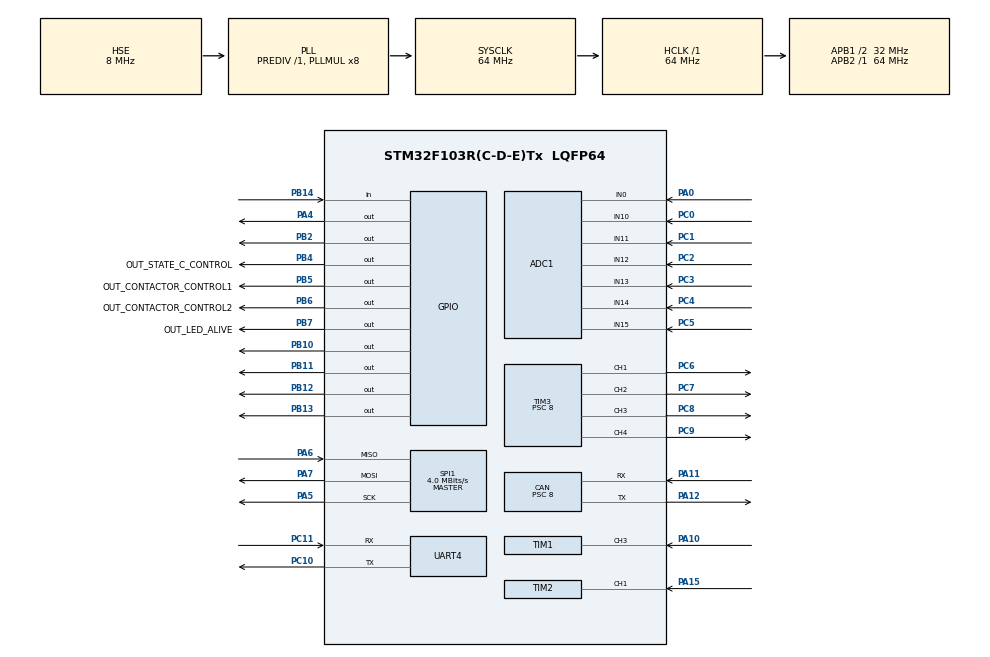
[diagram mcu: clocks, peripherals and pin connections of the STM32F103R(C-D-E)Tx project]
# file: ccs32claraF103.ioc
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ADC1.Channel-0\#ChannelRegularConversion=ADC_CHANNEL_10
ADC1.Channel-1\#ChannelRegularConversion=ADC_CHANNEL_11
ADC1.Channel-2\#ChannelRegularConversion=ADC_CHANNEL_12
ADC1.Channel-3\#ChannelRegularConversion=ADC_CHANNEL_13
ADC1.Channel-4\#ChannelRegularConversion=ADC_CHANNEL_TEMPSENSOR
ADC1.ContinuousConvMode=ENABLE
ADC1.NbrOfConversion=5
ADC1.NbrOfConversionFlag=1
ADC1.Rank-0\#ChannelRegularConversion=1
ADC1.Rank-1\#ChannelRegularConversion=2
ADC1.Rank-2\#ChannelRegularConversion=3
ADC1.Rank-3\#ChannelRegularConversion=4
ADC1.Rank-4\#ChannelRegularConversion=5
ADC1.SamplingTime-0\#ChannelRegularConversion=ADC_SAMPLETIME_71CYCLES_5
ADC1.SamplingTime-1\#ChannelRegularConversion=ADC_SAMPLETIME_71CYCLES_5
ADC1.SamplingTime-2\#ChannelRegularConversion=ADC_SAMPLETIME_71CYCLES_5
ADC1.SamplingTime-3\#ChannelRegularConversion=ADC_SAMPLETIME_71CYCLES_5
ADC1.SamplingTime-4\#ChannelRegularConversion=ADC_SAMPLETIME_71CYCLES_5
ADC1.master=1
CAN.BS1=CAN_BS1_6TQ
CAN.CalculateBaudRate=500000
CAN.CalculateTimeBit=2000
CAN.CalculateTimeQuantum=250.0
CAN.NART=ENABLE
CAN.Prescaler=8
Mcu.Family=STM32F1
Mcu.Name=STM32F103R(C-D-E)Tx
Mcu.Package=LQFP64
NVIC.PriorityGroup=NVIC_PRIORITYGROUP_4
NVIC.TIM2_IRQn=true\:0\:0\:false\:false\:true\:true\:true\:true
NVIC.USB_LP_CAN1_RX0_IRQn=true\:0\:0\:false\:false\:true\:true\:true\:true
PA0-WKUP.Signal=ADCx_IN0
PA10.Signal=S_TIM1_CH3
PA11.Mode=CAN_Activate
PA11.Signal=CAN_RX
PA12.Mode=CAN_Activate
PA12.Signal=CAN_TX
PA13.Mode=Serial_Wire
PA13.Signal=SYS_JTMS-SWDIO
PA14.Mode=Serial_Wire
PA14.Signal=SYS_JTCK-SWCLK
PA15.Signal=S_TIM2_CH1_ETR
PA4.Signal=GPIO_Output
PA5.Mode=Full_Duplex_Master
PA5.Signal=SPI1_SCK
PA6.Mode=Full_Duplex_Master
PA6.Signal=SPI1_MISO
PA7.Mode=Full_Duplex_Master
PA7.Signal=SPI1_MOSI
PB10.Signal=GPIO_Output
PB11.Signal=GPIO_Output
PB12.Signal=GPIO_Output
PB13.Signal=GPIO_Output
PB14.Signal=GPIO_Input
PB2.Signal=GPIO_Output
PB4.GPIO_Label=OUT_STATE_C_CONTROL
PB4.Signal=GPIO_Output
PB5.GPIO_Label=OUT_CONTACTOR_CONTROL1
PB5.Signal=GPIO_Output
PB6.GPIO_Label=OUT_CONTACTOR_CONTROL2
PB6.Signal=GPIO_Output
PB7.GPIO_Label=OUT_LED_ALIVE
PB7.Signal=GPIO_Output
PC0.Signal=ADCx_IN10
PC1.Signal=ADCx_IN11
PC10.Mode=Asynchronous
PC10.Signal=UART4_TX
PC11.Mode=Asynchronous
PC11.Signal=UART4_RX
PC2.Signal=ADCx_IN12
PC3.Signal=ADCx_IN13
PC4.Signal=ADCx_IN14
PC5.Signal=ADCx_IN15
PC6.Signal=S_TIM3_CH1
PC7.Signal=S_TIM3_CH2
PC8.Signal=S_TIM3_CH3
PC9.Signal=S_TIM3_CH4
PD0-OSC_IN.Mode=HSE-External-Oscillator
PD0-OSC_IN.Signal=RCC_OSC_IN
PD1-OSC_OUT.Mode=HSE-External-Oscillator
PD1-OSC_OUT.Signal=RCC_OSC_OUT
ProjectManager.HeapSize=0x200
ProjectManager.StackSize=0x400
ProjectManager.TargetToolchain=STM32CubeIDE
RCC.ADCPresc=RCC_ADCPCLK2_DIV8
RCC.AHBFreq_Value=64000000
RCC.APB1CLKDivider=RCC_HCLK_DIV2
RCC.APB1Freq_Value=32000000
RCC.APB1TimFreq_Value=64000000
RCC.APB2Freq_Value=64000000
RCC.APB2TimFreq_Value=64000000
RCC.HCLKFreq_Value=64000000
RCC.PLLMUL=RCC_PLL_MUL8
RCC.PLLSourceVirtual=RCC_PLLSOURCE_HSE
RCC.SYSCLKFreq_VALUE=64000000
RCC.SYSCLKSource=RCC_SYSCLKSOURCE_PLLCLK
RCC.USBFreq_Value=64000000
SH.ADCx_IN0.0=ADC1_IN0,IN0
SH.ADCx_IN10.0=ADC1_IN10,IN10
SH.ADCx_IN11.0=ADC1_IN11,IN11
SH.ADCx_IN12.0=ADC1_IN12,IN12
SH.ADCx_IN13.0=ADC1_IN13,IN13
SH.ADCx_IN14.0=ADC1_IN14,IN14
SH.ADCx_IN15.0=ADC1_IN15,IN15
SH.S_TIM1_CH3.0=TIM1_CH3,Input_Capture3_from_TI3
SH.S_TIM2_CH1_ETR.0=TIM2_CH1,PWM_Input_1
SH.S_TIM3_CH1.0=TIM3_CH1,PWM Generation1 CH1
SH.S_TIM3_CH2.0=TIM3_CH2,PWM Generation2 CH2
SH.S_TIM3_CH3.0=TIM3_CH3,PWM Generation3 CH3
SH.S_TIM3_CH4.0=TIM3_CH4,PWM Generation4 CH4
SPI1.BaudRatePrescaler=SPI_BAUDRATEPRESCALER_16
SPI1.CLKPhase=SPI_PHASE_2EDGE
SPI1.CLKPolarity=SPI_POLARITY_HIGH
SPI1.CalculateBaudRate=4.0 MBits/s
SPI1.Direction=SPI_DIRECTION_2LINES
SPI1.Mode=SPI_MODE_MASTER
SPI1.VirtualType=VM_MASTER
TIM1.Channel-Input_Capture3_from_TI3=TIM_CHANNEL_3
TIM3.AutoReloadPreload=TIM_AUTORELOAD_PRELOAD_DISABLE
TIM3.Channel-PWM\ Generation1\ CH1=TIM_CHANNEL_1
TIM3.Channel-PWM\ Generation2\ CH2=TIM_CHANNEL_2
TIM3.Channel-PWM\ Generation3\ CH3=TIM_CHANNEL_3
TIM3.Channel-PWM\ Generation4\ CH4=TIM_CHANNEL_4
TIM3.Prescaler=8
TIM3.Pulse-PWM\ Generation1\ CH1=16384
TIM3.Pulse-PWM\ Generation2\ CH2=32768
TIM3.Pulse-PWM\ Generation3\ CH3=48000
TIM3.Pulse-PWM\ Generation4\ CH4=60000
UART4.VirtualMode=Asynchronous
VP_ADC1_TempSens_Input.Mode=IN-TempSens
VP_TIM2_VS_ClockSourceINT.Mode=Internal
VP_TIM3_VS_ClockSourceINT.Mode=Internal
VP_TIM3_VS_ClockSourceITR.Mode=TriggerSource_ITR0
board=custom

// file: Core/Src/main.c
/* USER CODE BEGIN Header */
/**
  main file of the ccs32clara with STM32F103
  */
/* USER CODE END Header */
#include "main.h"

/* USER CODE BEGIN Includes */
#include <stdio.h>
#include "ccs32_globals.h"
/* USER CODE END Includes */

/* USER CODE BEGIN PD */
//#define TEST_BLINK_LEDS
/* USER CODE END PD */

ADC_HandleTypeDef hadc1;

CAN_HandleTypeDef hcan;

SPI_HandleTypeDef hspi1;

TIM_HandleTypeDef htim1;
TIM_HandleTypeDef htim2;
TIM_HandleTypeDef htim3;

UART_HandleTypeDef huart4;

/* USER CODE BEGIN PV */
ADC_ChannelConfTypeDef sConfig = {0};

/* USER CODE END PV */

void SystemClock_Config(void);
static void MX_GPIO_Init(void);
static void MX_UART4_Init(void);
static void MX_CAN_Init(void);
static void MX_SPI1_Init(void);
static void MX_ADC1_Init(void);
static void MX_TIM3_Init(void);
static void MX_TIM1_Init(void);
static void MX_TIM2_Init(void);

/* USER CODE BEGIN 0 */

void mySerialPrint(void) {
  #define TIMEOUT_100_MS 100
  HAL_UART_Transmit(&huart4, (uint8_t*)mySerialPrintOutputBuffer, strlen(mySerialPrintOutputBuffer), TIMEOUT_100_MS);
}

void mySpiTransmitReceive(void) {
  HAL_GPIO_WritePin(GPIOA, GPIO_PIN_4, 0);
  HAL_SPI_TransmitReceive(&hspi1, mySpiTxBuffer, mySpiRxBuffer, mySpiDataSize, 200);
  HAL_GPIO_WritePin(GPIOA, GPIO_PIN_4, 1);
}

/* USER CODE END 0 */

int main(void)
{

  /* MCU Configuration--------------------------------------------------------*/

  /* Reset of all peripherals, Initializes the Flash interface and the Systick. */
  HAL_Init();

  /* Configure the system clock */
  SystemClock_Config();

  /* Initialize all configured peripherals */
  MX_GPIO_Init();
  MX_UART4_Init();
  MX_CAN_Init();
  MX_SPI1_Init();
  MX_ADC1_Init();
  MX_TIM3_Init();
  MX_TIM1_Init();
  MX_TIM2_Init();
  /* USER CODE BEGIN 2 */
  hardwareInterface_init();
  initMyScheduler();
  canbus_Init();
  xcp_Init();
  myAdc_calibrate();
  /* USER CODE END 2 */

  /* Infinite loop */
  while (1)
  {

    /* USER CODE BEGIN 3 */
	runMyScheduler();
	#ifdef TEST_BLINK_LEDS
	  HAL_GPIO_WritePin(GPIOB, GPIO_PIN_4, 1);
	  HAL_Delay (2000);   /* ms */
	  HAL_GPIO_WritePin(GPIOB, GPIO_PIN_4, 0);
	  HAL_Delay (2000);   /* ms */
	  HAL_GPIO_WritePin(GPIOB, GPIO_PIN_5, 1);
	  HAL_Delay (100);   /* ms */
	  HAL_GPIO_WritePin(GPIOB, GPIO_PIN_5, 0);
	  HAL_Delay (100);   /* ms */
	  HAL_GPIO_WritePin(GPIOB, GPIO_PIN_7, 1);
	  HAL_Delay (100);   /* ms */
	  HAL_GPIO_WritePin(GPIOB, GPIO_PIN_7, 0);
	  HAL_Delay (100);   /* ms */
	  addToTrace("Hello, this is just a test.");
	#endif
  }
  /* USER CODE END 3 */
}

void SystemClock_Config(void)
{
  RCC_OscInitTypeDef RCC_OscInitStruct = {0};
  RCC_ClkInitTypeDef RCC_ClkInitStruct = {0};
  RCC_PeriphCLKInitTypeDef PeriphClkInit = {0};

  /** Initializes the RCC Oscillators according to the specified parameters
  * in the RCC_OscInitTypeDef structure.
  */
  RCC_OscInitStruct.OscillatorType = RCC_OSCILLATORTYPE_HSE;
  RCC_OscInitStruct.HSEState = RCC_HSE_ON;
  RCC_OscInitStruct.HSEPredivValue = RCC_HSE_PREDIV_DIV1;
  RCC_OscInitStruct.HSIState = RCC_HSI_ON;
  RCC_OscInitStruct.PLL.PLLState = RCC_PLL_ON;
  RCC_OscInitStruct.PLL.PLLSource = RCC_PLLSOURCE_HSE;
  RCC_OscInitStruct.PLL.PLLMUL = RCC_PLL_MUL8;
  if (HAL_RCC_OscConfig(&RCC_OscInitStruct) != HAL_OK)
  {
    Error_Handler();
  }

  /** Initializes the CPU, AHB and APB buses clocks
  */
  RCC_ClkInitStruct.ClockType = RCC_CLOCKTYPE_HCLK|RCC_CLOCKTYPE_SYSCLK
                              |RCC_CLOCKTYPE_PCLK1|RCC_CLOCKTYPE_PCLK2;
  RCC_ClkInitStruct.SYSCLKSource = RCC_SYSCLKSOURCE_PLLCLK;
  RCC_ClkInitStruct.AHBCLKDivider = RCC_SYSCLK_DIV1;
  RCC_ClkInitStruct.APB1CLKDivider = RCC_HCLK_DIV2;
  RCC_ClkInitStruct.APB2CLKDivider = RCC_HCLK_DIV1;

  if (HAL_RCC_ClockConfig(&RCC_ClkInitStruct, FLASH_LATENCY_2) != HAL_OK)
  {
    Error_Handler();
  }
  PeriphClkInit.PeriphClockSelection = RCC_PERIPHCLK_ADC;
  PeriphClkInit.AdcClockSelection = RCC_ADCPCLK2_DIV8;
  if (HAL_RCCEx_PeriphCLKConfig(&PeriphClkInit) != HAL_OK)
  {
    Error_Handler();
  }
}

static void MX_ADC1_Init(void)
{

  ADC_ChannelConfTypeDef sConfig = {0};

  /** Common config
  */
  hadc1.Instance = ADC1;
  hadc1.Init.ScanConvMode = ADC_SCAN_ENABLE;
  hadc1.Init.ContinuousConvMode = ENABLE;
  hadc1.Init.DiscontinuousConvMode = DISABLE;
  hadc1.Init.ExternalTrigConv = ADC_SOFTWARE_START;
  hadc1.Init.DataAlign = ADC_DATAALIGN_RIGHT;
  hadc1.Init.NbrOfConversion = 5;
  if (HAL_ADC_Init(&hadc1) != HAL_OK)
  {
    Error_Handler();
  }

  /** Configure Regular Channel
  */
  sConfig.Channel = ADC_CHANNEL_10;
  sConfig.Rank = ADC_REGULAR_RANK_1;
  sConfig.SamplingTime = ADC_SAMPLETIME_71CYCLES_5;
  if (HAL_ADC_ConfigChannel(&hadc1, &sConfig) != HAL_OK)
  {
    Error_Handler();
  }

  /** Configure Regular Channel
  */
  sConfig.Channel = ADC_CHANNEL_11;
  sConfig.Rank = ADC_REGULAR_RANK_2;
  if (HAL_ADC_ConfigChannel(&hadc1, &sConfig) != HAL_OK)
  {
    Error_Handler();
  }

  /** Configure Regular Channel
  */
  sConfig.Channel = ADC_CHANNEL_12;
  sConfig.Rank = ADC_REGULAR_RANK_3;
  if (HAL_ADC_ConfigChannel(&hadc1, &sConfig) != HAL_OK)
  {
    Error_Handler();
  }

  /** Configure Regular Channel
  */
  sConfig.Channel = ADC_CHANNEL_13;
  sConfig.Rank = ADC_REGULAR_RANK_4;
  if (HAL_ADC_ConfigChannel(&hadc1, &sConfig) != HAL_OK)
  {
    Error_Handler();
  }

  /** Configure Regular Channel
  */
  sConfig.Channel = ADC_CHANNEL_TEMPSENSOR;
  sConfig.Rank = ADC_REGULAR_RANK_5;
  if (HAL_ADC_ConfigChannel(&hadc1, &sConfig) != HAL_OK)
  {
    Error_Handler();
  }
  /* USER CODE BEGIN ADC1_Init 2 */

  /* overwrite the ADC config with NbrOfConversion=1 */
  hadc1.Instance = ADC1;
  hadc1.Init.ScanConvMode = ADC_SCAN_ENABLE;
  hadc1.Init.ContinuousConvMode = ENABLE;
  hadc1.Init.DiscontinuousConvMode = DISABLE;
  hadc1.Init.ExternalTrigConv = ADC_SOFTWARE_START;
  hadc1.Init.DataAlign = ADC_DATAALIGN_RIGHT;
  hadc1.Init.NbrOfConversion = 1;
  if (HAL_ADC_Init(&hadc1) != HAL_OK)
  {
    Error_Handler();
  }

  /* USER CODE END ADC1_Init 2 */

}

static void MX_CAN_Init(void)
{

  hcan.Instance = CAN1;
  hcan.Init.Prescaler = 8;
  hcan.Init.Mode = CAN_MODE_NORMAL;
  hcan.Init.SyncJumpWidth = CAN_SJW_1TQ;
  hcan.Init.TimeSeg1 = CAN_BS1_6TQ;
  hcan.Init.TimeSeg2 = CAN_BS2_1TQ;
  hcan.Init.TimeTriggeredMode = DISABLE;
  hcan.Init.AutoBusOff = DISABLE;
  hcan.Init.AutoWakeUp = DISABLE;
  hcan.Init.AutoRetransmission = ENABLE;
  hcan.Init.ReceiveFifoLocked = DISABLE;
  hcan.Init.TransmitFifoPriority = DISABLE;
  if (HAL_CAN_Init(&hcan) != HAL_OK)
  {
    Error_Handler();
  }

}

static void MX_SPI1_Init(void)
{

  /* SPI1 parameter configuration*/
  hspi1.Instance = SPI1;
  hspi1.Init.Mode = SPI_MODE_MASTER;
  hspi1.Init.Direction = SPI_DIRECTION_2LINES;
  hspi1.Init.DataSize = SPI_DATASIZE_8BIT;
  hspi1.Init.CLKPolarity = SPI_POLARITY_HIGH;
  hspi1.Init.CLKPhase = SPI_PHASE_2EDGE;
  hspi1.Init.NSS = SPI_NSS_SOFT;
  hspi1.Init.BaudRatePrescaler = SPI_BAUDRATEPRESCALER_16;
  hspi1.Init.FirstBit = SPI_FIRSTBIT_MSB;
  hspi1.Init.TIMode = SPI_TIMODE_DISABLE;
  hspi1.Init.CRCCalculation = SPI_CRCCALCULATION_DISABLE;
  hspi1.Init.CRCPolynomial = 10;
  if (HAL_SPI_Init(&hspi1) != HAL_OK)
  {
    Error_Handler();
  }

}

static void MX_TIM1_Init(void)
{

  TIM_MasterConfigTypeDef sMasterConfig = {0};
  TIM_IC_InitTypeDef sConfigIC = {0};

  htim1.Instance = TIM1;
  htim1.Init.Prescaler = 0;
  htim1.Init.CounterMode = TIM_COUNTERMODE_UP;
  htim1.Init.Period = 65535;
  htim1.Init.ClockDivision = TIM_CLOCKDIVISION_DIV1;
  htim1.Init.RepetitionCounter = 0;
  htim1.Init.AutoReloadPreload = TIM_AUTORELOAD_PRELOAD_DISABLE;
  if (HAL_TIM_IC_Init(&htim1) != HAL_OK)
  {
    Error_Handler();
  }
  sMasterConfig.MasterOutputTrigger = TIM_TRGO_RESET;
  sMasterConfig.MasterSlaveMode = TIM_MASTERSLAVEMODE_DISABLE;
  if (HAL_TIMEx_MasterConfigSynchronization(&htim1, &sMasterConfig) != HAL_OK)
  {
    Error_Handler();
  }
  sConfigIC.ICPolarity = TIM_INPUTCHANNELPOLARITY_RISING;
  sConfigIC.ICSelection = TIM_ICSELECTION_DIRECTTI;
  sConfigIC.ICPrescaler = TIM_ICPSC_DIV1;
  sConfigIC.ICFilter = 0;
  if (HAL_TIM_IC_ConfigChannel(&htim1, &sConfigIC, TIM_CHANNEL_3) != HAL_OK)
  {
    Error_Handler();
  }

}

static void MX_TIM2_Init(void)
{

  TIM_ClockConfigTypeDef sClockSourceConfig = {0};
  TIM_SlaveConfigTypeDef sSlaveConfig = {0};
  TIM_IC_InitTypeDef sConfigIC = {0};
  TIM_MasterConfigTypeDef sMasterConfig = {0};

  htim2.Instance = TIM2;
  htim2.Init.Prescaler = 0;
  htim2.Init.CounterMode = TIM_COUNTERMODE_UP;
  htim2.Init.Period = 65535;
  htim2.Init.ClockDivision = TIM_CLOCKDIVISION_DIV1;
  htim2.Init.AutoReloadPreload = TIM_AUTORELOAD_PRELOAD_DISABLE;
  if (HAL_TIM_Base_Init(&htim2) != HAL_OK)
  {
    Error_Handler();
  }
  sClockSourceConfig.ClockSource = TIM_CLOCKSOURCE_INTERNAL;
  if (HAL_TIM_ConfigClockSource(&htim2, &sClockSourceConfig) != HAL_OK)
  {
    Error_Handler();
  }
  if (HAL_TIM_IC_Init(&htim2) != HAL_OK)
  {
    Error_Handler();
  }
  sSlaveConfig.SlaveMode = TIM_SLAVEMODE_RESET;
  sSlaveConfig.InputTrigger = TIM_TS_TI1FP1;
  sSlaveConfig.TriggerPolarity = TIM_INPUTCHANNELPOLARITY_RISING;
  sSlaveConfig.TriggerPrescaler = TIM_ICPSC_DIV1;
  sSlaveConfig.TriggerFilter = 0;
  if (HAL_TIM_SlaveConfigSynchro(&htim2, &sSlaveConfig) != HAL_OK)
  {
    Error_Handler();
  }
  sConfigIC.ICPolarity = TIM_INPUTCHANNELPOLARITY_RISING;
  sConfigIC.ICSelection = TIM_ICSELECTION_DIRECTTI;
  sConfigIC.ICPrescaler = TIM_ICPSC_DIV1;
  sConfigIC.ICFilter = 0;
  if (HAL_TIM_IC_ConfigChannel(&htim2, &sConfigIC, TIM_CHANNEL_1) != HAL_OK)
  {
    Error_Handler();
  }
  sConfigIC.ICPolarity = TIM_INPUTCHANNELPOLARITY_FALLING;
  sConfigIC.ICSelection = TIM_ICSELECTION_INDIRECTTI;
  if (HAL_TIM_IC_ConfigChannel(&htim2, &sConfigIC, TIM_CHANNEL_2) != HAL_OK)
  {
    Error_Handler();
  }
  sMasterConfig.MasterOutputTrigger = TIM_TRGO_RESET;
  sMasterConfig.MasterSlaveMode = TIM_MASTERSLAVEMODE_DISABLE;
  if (HAL_TIMEx_MasterConfigSynchronization(&htim2, &sMasterConfig) != HAL_OK)
  {
    Error_Handler();
  }

}

static void MX_TIM3_Init(void)
{

  TIM_ClockConfigTypeDef sClockSourceConfig = {0};
  TIM_SlaveConfigTypeDef sSlaveConfig = {0};
  TIM_MasterConfigTypeDef sMasterConfig = {0};
  TIM_OC_InitTypeDef sConfigOC = {0};

  htim3.Instance = TIM3;
  htim3.Init.Prescaler = 8;
  htim3.Init.CounterMode = TIM_COUNTERMODE_UP;
  htim3.Init.Period = 65535;
  htim3.Init.ClockDivision = TIM_CLOCKDIVISION_DIV1;
  htim3.Init.AutoReloadPreload = TIM_AUTORELOAD_PRELOAD_DISABLE;
  if (HAL_TIM_Base_Init(&htim3) != HAL_OK)
  {
    Error_Handler();
  }
  sClockSourceConfig.ClockSource = TIM_CLOCKSOURCE_INTERNAL;
  if (HAL_TIM_ConfigClockSource(&htim3, &sClockSourceConfig) != HAL_OK)
  {
    Error_Handler();
  }
  if (HAL_TIM_PWM_Init(&htim3) != HAL_OK)
  {
    Error_Handler();
  }
  sSlaveConfig.SlaveMode = TIM_SLAVEMODE_DISABLE;
  sSlaveConfig.InputTrigger = TIM_TS_ITR0;
  if (HAL_TIM_SlaveConfigSynchro(&htim3, &sSlaveConfig) != HAL_OK)
  {
    Error_Handler();
  }
  sMasterConfig.MasterOutputTrigger = TIM_TRGO_RESET;
  sMasterConfig.MasterSlaveMode = TIM_MASTERSLAVEMODE_DISABLE;
  if (HAL_TIMEx_MasterConfigSynchronization(&htim3, &sMasterConfig) != HAL_OK)
  {
    Error_Handler();
  }
  sConfigOC.OCMode = TIM_OCMODE_PWM1;
  sConfigOC.Pulse = 16384;
  sConfigOC.OCPolarity = TIM_OCPOLARITY_HIGH;
  sConfigOC.OCFastMode = TIM_OCFAST_DISABLE;
  if (HAL_TIM_PWM_ConfigChannel(&htim3, &sConfigOC, TIM_CHANNEL_1) != HAL_OK)
  {
    Error_Handler();
  }
  sConfigOC.Pulse = 32768;
  if (HAL_TIM_PWM_ConfigChannel(&htim3, &sConfigOC, TIM_CHANNEL_2) != HAL_OK)
  {
    Error_Handler();
  }
  sConfigOC.Pulse = 48000;
  if (HAL_TIM_PWM_ConfigChannel(&htim3, &sConfigOC, TIM_CHANNEL_3) != HAL_OK)
  {
    Error_Handler();
  }
  sConfigOC.Pulse = 60000;
  if (HAL_TIM_PWM_ConfigChannel(&htim3, &sConfigOC, TIM_CHANNEL_4) != HAL_OK)
  {
    Error_Handler();
  }
  HAL_TIM_MspPostInit(&htim3);

}

static void MX_UART4_Init(void)
{

  huart4.Instance = UART4;
  huart4.Init.BaudRate = 115200;
  huart4.Init.WordLength = UART_WORDLENGTH_8B;
  huart4.Init.StopBits = UART_STOPBITS_1;
  huart4.Init.Parity = UART_PARITY_NONE;
  huart4.Init.Mode = UART_MODE_TX_RX;
  huart4.Init.HwFlowCtl = UART_HWCONTROL_NONE;
  huart4.Init.OverSampling = UART_OVERSAMPLING_16;
  if (HAL_UART_Init(&huart4) != HAL_OK)
  {
    Error_Handler();
  }

}

static void MX_GPIO_Init(void)
{
  GPIO_InitTypeDef GPIO_InitStruct = {0};

  /* GPIO Ports Clock Enable */
  __HAL_RCC_GPIOD_CLK_ENABLE();
  __HAL_RCC_GPIOC_CLK_ENABLE();
  __HAL_RCC_GPIOA_CLK_ENABLE();
  __HAL_RCC_GPIOB_CLK_ENABLE();

  /*Configure GPIO pin Output Level */
  HAL_GPIO_WritePin(GPIOA, GPIO_PIN_4, GPIO_PIN_RESET);

  /*Configure GPIO pin Output Level */
  HAL_GPIO_WritePin(GPIOB, GPIO_PIN_2|GPIO_PIN_10|GPIO_PIN_11|GPIO_PIN_12
                          |GPIO_PIN_13|OUT_STATE_C_CONTROL_Pin|OUT_CONTACTOR_CONTROL1_Pin|OUT_CONTACTOR_CONTROL2_Pin
                          |OUT_LED_ALIVE_Pin, GPIO_PIN_RESET);

  /*Configure GPIO pin : PA4 */
  GPIO_InitStruct.Pin = GPIO_PIN_4;
  GPIO_InitStruct.Mode = GPIO_MODE_OUTPUT_PP;
  GPIO_InitStruct.Pull = GPIO_NOPULL;
  GPIO_InitStruct.Speed = GPIO_SPEED_FREQ_LOW;
  HAL_GPIO_Init(GPIOA, &GPIO_InitStruct);

  /*Configure GPIO pins : PB2 PB10 PB11 PB12
                           PB13 OUT_STATE_C_CONTROL_Pin OUT_CONTACTOR_CONTROL1_Pin OUT_CONTACTOR_CONTROL2_Pin
                           OUT_LED_ALIVE_Pin */
  GPIO_InitStruct.Pin = GPIO_PIN_2|GPIO_PIN_10|GPIO_PIN_11|GPIO_PIN_12
                          |GPIO_PIN_13|OUT_STATE_C_CONTROL_Pin|OUT_CONTACTOR_CONTROL1_Pin|OUT_CONTACTOR_CONTROL2_Pin
                          |OUT_LED_ALIVE_Pin;
  GPIO_InitStruct.Mode = GPIO_MODE_OUTPUT_PP;
  GPIO_InitStruct.Pull = GPIO_NOPULL;
  GPIO_InitStruct.Speed = GPIO_SPEED_FREQ_LOW;
  HAL_GPIO_Init(GPIOB, &GPIO_InitStruct);

  /*Configure GPIO pin : PB14 */
  GPIO_InitStruct.Pin = GPIO_PIN_14;
  GPIO_InitStruct.Mode = GPIO_MODE_INPUT;
  GPIO_InitStruct.Pull = GPIO_NOPULL;
  HAL_GPIO_Init(GPIOB, &GPIO_InitStruct);

}

void Error_Handler(void)
{
  __disable_irq();
  while (1)
  {
  }
}
